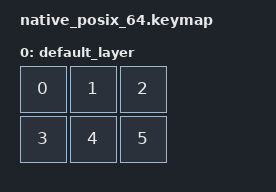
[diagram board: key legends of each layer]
#include <dt-bindings/zmk/keys.h>
#include <behaviors.dtsi>
#include <dt-bindings/zmk/kscan_mock.h>

/*
combo on 01 and 34
overlapping combo on 012 and 345

press 01 and then 34 both in their combo terms
should actuate both combos
*/

/ {
    combos {
        compatible = "zmk,combos";

        combo_a {
            timeout-ms = <50>;
            key-positions = <0 1>;
            bindings = <&kp A>;
        };

        combo_b {
            timeout-ms = <50>;
            key-positions = <3 4>;
            bindings = <&kp B>;
        };

        combo_c {
            timeout-ms = <100>;
            key-positions = <0 1 2>;
            bindings = <&kp C>;
        };

        combo_d {
            timeout-ms = <100>;
            key-positions = <3 4 5>;
            bindings = <&kp D>;
        };
    };

    keymap {
        compatible = "zmk,keymap";

        default_layer {
            bindings = <
                &kp N0 &kp N1 &kp N2
                &kp N3 &kp N4 &kp N5
            >;
        };
    };
};

&kscan {
    rows = <2>;
    columns = <3>;
    events = <
        ZMK_MOCK_PRESS(0,0,10)
        ZMK_MOCK_PRESS(0,1,10)
        ZMK_MOCK_PRESS(1,0,10)
        ZMK_MOCK_PRESS(1,1,10)
        ZMK_MOCK_RELEASE(0,0,10)
        ZMK_MOCK_RELEASE(0,1,10)
        ZMK_MOCK_RELEASE(1,0,10)
        ZMK_MOCK_RELEASE(1,1,10)
    >;
};
